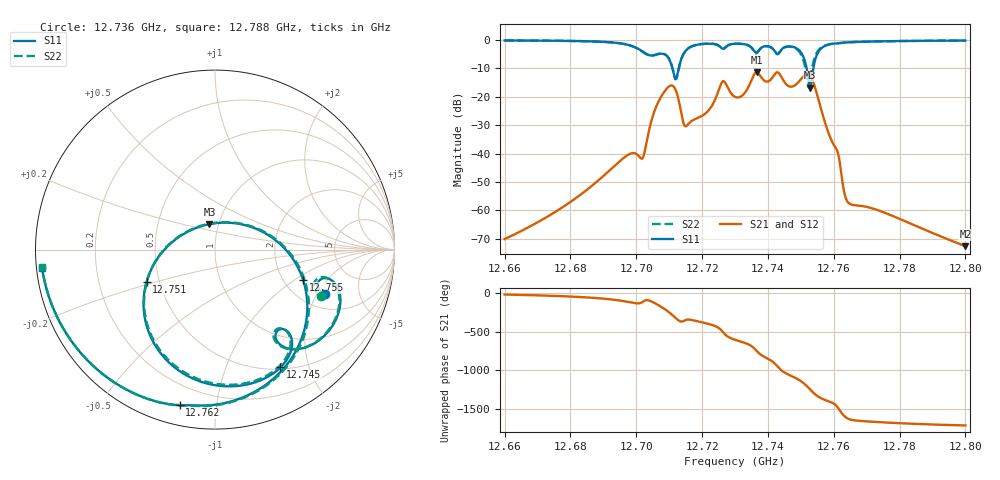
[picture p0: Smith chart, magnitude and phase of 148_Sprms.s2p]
! TOUCHSTONE file generated by CST MICROWAVE STUDIO
! Date and time: Wed Jul 31 18:18:11 2024
! Project name: WaveGuide_BPF-Ver4.1_U-shape_Ku_T3_C4_CWA_2.cst
! Parameters = {cavity_h=16; cavity_l0=10; cavity_l1=15.1744; cavity_l2=16.8784; cavity_l3=17.065; cavity_l4=17.2929; cavity_l5=17.1114; cavity_l6=17.554; cavity_r=2.5; cavity_screw_l=0.5; cavity_screw_r=1.5; cavity_w=8; iris_h00=0; iris_h01=8.8308; iris_h112=0; iris_h12=5.5872; iris_h211=3.6644; ir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
! Header version: 2018
! Port assignment regex: !\s*Touchstone port\s*([0-9]+)\s*=\s*(CST MWS port|CST DS port)\s*([0-9]+|Zmin|Zmax)\s*\(\"(.*)\"\)(\s*mode\s*([0-9]+))?.*
! Touchstone port assignment:
! Touchstone port 1 = CST MWS port 1 ("")
! Touchstone port 2 = CST MWS port 2 ("")
# GHz S RI R 50
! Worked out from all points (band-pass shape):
!   5001 points, 12.66 GHz to 12.8 GHz, reference 50 ohm
!   highest |S21| = -11.35 dB at 12.737 GHz (marker M1); lowest = -72.6 dB at 12.8 GHz (marker M2)
!   |S21| within 3 dB of the highest: 12.73494 GHz to 12.73896 GHz (4.023 MHz wide, 0.0316 % of centre); 12.74047 GHz to 12.74475 GHz (4.271 MHz wide, 0.0335 % of centre) (the widest 2 of 3)
!   lowest |S11| = -16.8 dB at 12.753 GHz (marker M3), VSWR 1.34, Z = 45.2 + j13.1 ohm
!   |S11| at or under -10 dB: 12.71099 GHz to 12.7129 GHz (1.912 MHz wide, 0.015 % of centre); 12.75176 GHz to 12.75378 GHz (2.021 MHz wide, 0.0158 % of centre)
!   |S22| runs from -16.6 to -0.2 dB; largest |S21 - S12| = 1e-09
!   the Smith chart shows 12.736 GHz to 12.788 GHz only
!   S11 on the Smith chart (normalised r, x): 12.736 GHz: 2.66, -2.34; 12.745 GHz: 0.52, -1.57; 12.751 GHz: 0.42, -0.18; 12.755 GHz: 2.54, -1.17; 12.762 GHz: 0.10, -0.79; 12.788 GHz: 0.02, -0.05
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12.66  0.2795 0.9416  0.000291 -0.000111  0.000291 -0.000111  0.283 0.9406
12.68335  0.6976 0.6538  0.00114 -0.00157  0.00114 -0.00157  0.6996 0.6518
12.69573  0.8613 -0.063  -0.00183 -0.00777  -0.00183 -0.00777  0.8587 -0.0711
12.70127  0.2088 -0.631  -0.00549 -0.0063  -0.00549 -0.0063  0.178 -0.6305
12.70668  -0.3717 0.4235  -0.0744 -0.0308  -0.0744 -0.0308  -0.3437 0.4573
12.71001  0.3565 0.2843  -0.0487 0.145  -0.0487 0.145  0.3719 0.2785
12.71214  -0.0214 -0.2075  0.11 0.0585  0.11 0.0585  -0.0194 -0.2055
12.71435  -0.491 0.2835  0.0341 -0.00262  0.0341 -0.00262  -0.4825 0.2962
12.71818  -0.01 0.8174  0.0411 -0.0019  0.0411 -0.0019  0.00939 0.8187
12.73  0.8144 0.2756  -0.0395 0.0917  -0.0395 0.0917  0.8172 0.2638
12.73568  0.6118 -0.2484  0.2373 0.0334  0.2373 0.0334  0.5917 -0.2576
12.73655  0.5784 -0.176  0.2352 -0.1342  0.2352 -0.1342  0.5588 -0.1738
12.74515  0.3649 -0.656  0.1225 0.1279  0.1225 0.1279  0.3528 -0.6552
12.75125  -0.3807 -0.1778  -0.0559 -0.2355  -0.0559 -0.2355  -0.337 -0.0735
12.75279  -0.0307 0.1417  -0.2306 -0.046  -0.2306 -0.046  0.1062 0.1504
12.75335  0.1676 0.1364  -0.2015 0.0478  -0.2015 0.0478  0.2891 0.0907
12.75472  0.4909 -0.1687  -0.05 0.1101  -0.05 0.1101  0.5187 -0.2532
12.76228  -0.1973 -0.8668  -0.00155 -0.00418  -0.00155 -0.00418  -0.2064 -0.8675
12.76469  -0.3847 -0.8278  -0.00127 0.000339  -0.00127 0.000339  -0.3904 -0.8264
12.77668  -0.8518 -0.4283  -0.000425 0.000739  -0.000425 0.000739  -0.8532 -0.4256
12.78779  -0.9636 -0.1003  -7.29e-05 0.000446  -7.29e-05 0.000446  -0.964 -0.0969
12.8  -0.9653 0.1573  2.57e-05 0.000232  2.57e-05 0.000232  -0.9647 0.1611
